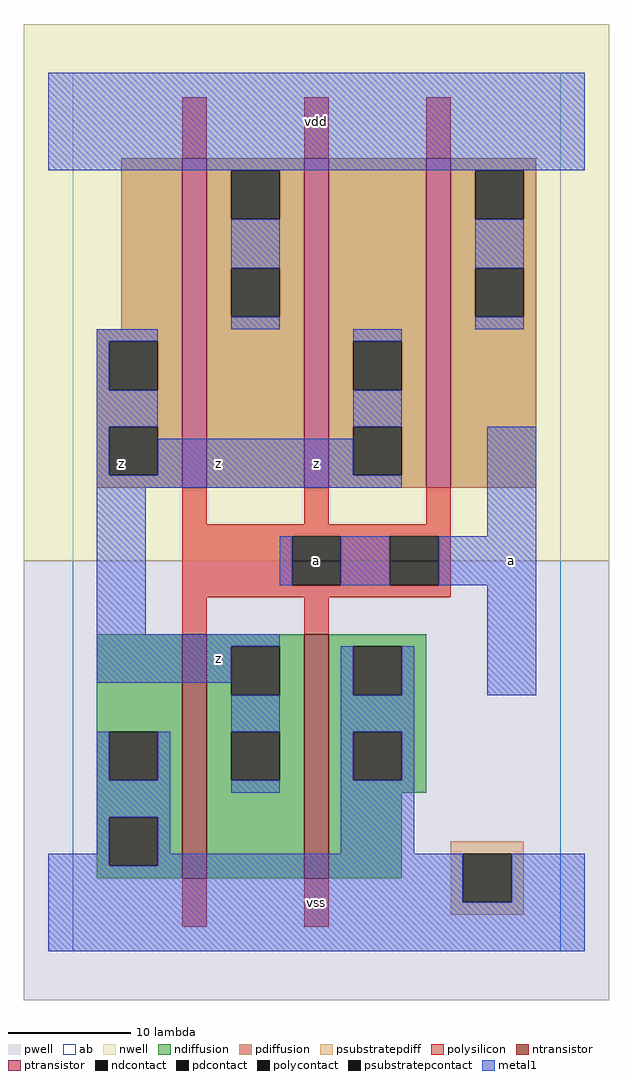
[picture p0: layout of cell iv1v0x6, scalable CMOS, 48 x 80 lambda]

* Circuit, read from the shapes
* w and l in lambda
.subckt iv1v0x6 a vdd vss z
M1 z a vss vss nfet w=20 l=2 m=2
M2 vdd a z n1 pfet w=27 l=2 m=3
.ends

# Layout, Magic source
magic
tech scmos
<< ab >>
rect 0 0 40 72
<< pwell >>
rect -4 -4 44 32
<< nwell >>
rect -4 32 44 76
<< polysilicon >>
rect 9 65 11 70
rect 19 65 21 70
rect 29 65 31 70
rect 9 35 11 38
rect 19 35 21 38
rect 29 35 31 38
rect 9 34 31 35
rect 9 30 18 34
rect 22 30 26 34
rect 30 30 31 34
rect 9 29 31 30
rect 9 26 11 29
rect 19 26 21 29
rect 9 2 11 6
rect 19 2 21 6
<< ndiffusion >>
rect 2 18 9 26
rect 2 14 3 18
rect 7 14 9 18
rect 2 11 9 14
rect 2 7 3 11
rect 7 7 9 11
rect 2 6 9 7
rect 11 25 19 26
rect 11 21 13 25
rect 17 21 19 25
rect 11 18 19 21
rect 11 14 13 18
rect 17 14 19 18
rect 11 6 19 14
rect 21 25 29 26
rect 21 21 23 25
rect 27 21 29 25
rect 21 18 29 21
rect 21 14 23 18
rect 27 14 29 18
rect 21 13 29 14
rect 21 6 27 13
<< pdiffusion >>
rect 4 51 9 65
rect 2 50 9 51
rect 2 46 3 50
rect 7 46 9 50
rect 2 43 9 46
rect 2 39 3 43
rect 7 39 9 43
rect 2 38 9 39
rect 11 64 19 65
rect 11 60 13 64
rect 17 60 19 64
rect 11 56 19 60
rect 11 52 13 56
rect 17 52 19 56
rect 11 38 19 52
rect 21 50 29 65
rect 21 46 23 50
rect 27 46 29 50
rect 21 43 29 46
rect 21 39 23 43
rect 27 39 29 43
rect 21 38 29 39
rect 31 64 38 65
rect 31 60 33 64
rect 37 60 38 64
rect 31 56 38 60
rect 31 52 33 56
rect 37 52 38 56
rect 31 38 38 52
<< metal1 >>
rect -2 64 42 72
rect 13 56 17 60
rect 13 51 17 52
rect 33 56 37 60
rect 33 51 37 52
rect 2 50 7 51
rect 2 46 3 50
rect 2 43 7 46
rect 2 39 3 43
rect 23 50 27 51
rect 23 43 27 46
rect 7 39 23 42
rect 2 38 27 39
rect 2 26 6 38
rect 34 34 38 43
rect 17 30 18 34
rect 22 30 26 34
rect 30 30 38 34
rect 2 25 17 26
rect 2 22 13 25
rect 13 18 17 21
rect 2 14 3 18
rect 7 14 8 18
rect 2 11 8 14
rect 13 13 17 14
rect 22 21 23 25
rect 27 21 28 25
rect 34 21 38 30
rect 22 18 28 21
rect 22 14 23 18
rect 27 14 28 18
rect 2 8 3 11
rect -2 7 3 8
rect 7 8 8 11
rect 22 8 28 14
rect 7 7 32 8
rect -2 4 32 7
rect 36 4 42 8
rect -2 0 42 4
<< ntransistor >>
rect 9 6 11 26
rect 19 6 21 26
<< ptransistor >>
rect 9 38 11 65
rect 19 38 21 65
rect 29 38 31 65
<< polycontact >>
rect 18 30 22 34
rect 26 30 30 34
<< ndcontact >>
rect 3 14 7 18
rect 3 7 7 11
rect 13 21 17 25
rect 13 14 17 18
rect 23 21 27 25
rect 23 14 27 18
<< pdcontact >>
rect 3 46 7 50
rect 3 39 7 43
rect 13 60 17 64
rect 13 52 17 56
rect 23 46 27 50
rect 23 39 27 43
rect 33 60 37 64
rect 33 52 37 56
<< psubstratepcontact >>
rect 32 4 36 8
<< psubstratepdiff >>
rect 31 8 37 9
rect 31 4 32 8
rect 36 4 37 8
rect 31 3 37 4
<< labels >>
rlabel pdcontact 4 40 4 40 6 z
rlabel metal1 12 24 12 24 6 z
rlabel metal1 12 40 12 40 6 z
rlabel metal1 20 4 20 4 6 vss
rlabel polycontact 20 32 20 32 6 a
rlabel metal1 20 40 20 40 6 z
rlabel metal1 20 68 20 68 6 vdd
rlabel metal1 36 32 36 32 6 a
<< end >>
